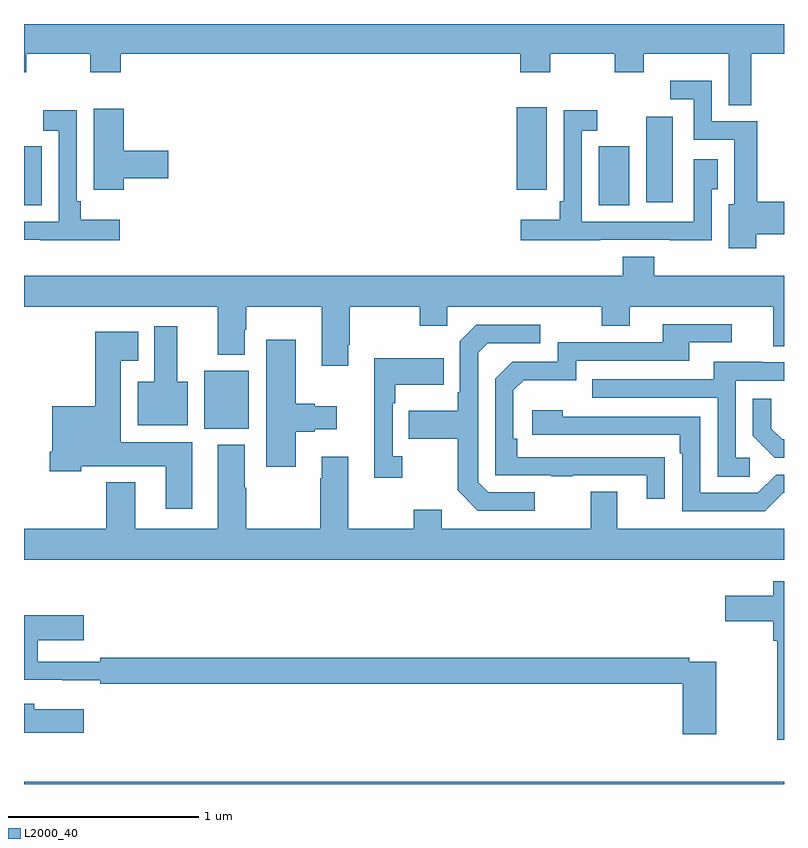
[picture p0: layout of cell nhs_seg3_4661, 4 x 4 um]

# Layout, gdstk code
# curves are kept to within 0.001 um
import gdstk
lib = gdstk.Library(unit=1e-6, precision=1e-09)
def R(c, l, rs):  # rectangles x0, y0, x1, y1
    for r in rs: c.add(gdstk.rectangle(r[:2], r[2:], *l))
def P(c, l, *ps):  # polygons
    for p in ps: c.add(gdstk.Polygon(p, *l))
L2000_40 = (2000, 40)

nhs_seg3_4661 = lib.new_cell('nhs_seg3_4661')
R(nhs_seg3_4661, L2000_40, [(361,702.4,365,702.412), (361.949,704.27,362.182,704.575), (361,705.445,361.093,705.756), (364.025,705.445,364.186,705.756), (364.274,705.462,364.414,705.913), (363.593,705.528,363.751,705.961)])
P(nhs_seg3_4661, L2000_40, [(364.828,706.244),(365,706.244),(365,706.4),(361,706.4),(361,706.145),(361.011,706.145),(361.011,706.244),(361.348,706.244),(361.348,706.145),(361.508,706.145),(361.508,706.244),(363.611,706.244),(363.611,706.145),(363.771,706.145),(363.771,706.244),(364.108,706.244),(364.108,706.145),(364.263,706.145),(364.263,706.244),(364.709,706.244),(364.709,705.973),(364.828,705.973)],
  [(364.853,705.293),(365,705.293),(365,705.464),(364.858,705.464),(364.858,705.888),(364.62,705.888),(364.62,706.102),(364.401,706.102),(364.401,706.005),(364.524,706.005),(364.524,705.792),(364.739,705.792),(364.739,705.451),(364.709,705.451),(364.709,705.219),(364.853,705.219)],
  [(361.526,705.587),(361.759,705.587),(361.759,705.734),(361.526,705.734),(361.526,705.955),(361.367,705.955),(361.367,705.528),(361.526,705.528)],
  [(364.033,705.264),(364.399,705.264),(364.399,705.263),(364.62,705.263),(364.62,705.529),(364.651,705.529),(364.651,705.688),(364.524,705.688),(364.524,705.36),(363.936,705.36),(363.936,705.837),(364.018,705.837),(364.018,705.946),(363.84,705.946),(363.84,705.466),(363.82,705.466),(363.82,705.37),(363.615,705.37),(363.615,705.263),(364.033,705.263)],
  [(361.504,705.37),(361.298,705.37),(361.298,705.466),(361.278,705.466),(361.278,705.946),(361.101,705.946),(361.101,705.837),(361.182,705.837),(361.182,705.36),(361,705.36),(361,705.264),(361.085,705.264),(361.085,705.263),(361.504,705.263)],
  [(362.707,704.713),(362.715,704.713),(362.715,704.912),(363.082,704.912),(363.082,704.813),(363.228,704.813),(363.228,704.912),(364.042,704.912),(364.042,704.813),(364.189,704.813),(364.189,704.912),(364.943,704.912),(364.943,704.704),(365,704.704),(365,705.076),(364.316,705.076),(364.316,705.175),(364.151,705.175),(364.151,705.076),(361,705.076),(361,704.912),(362.021,704.912),(362.021,704.66),(362.161,704.66),(362.161,704.792),(362.169,704.792),(362.169,704.912),(362.567,704.912),(362.567,704.601),(362.707,704.601)],
  [(364.373,704.12),(363.596,704.121),(363.596,704.218),(363.576,704.218),(363.576,704.472),(363.629,704.525),(363.906,704.525),(363.906,704.628),(364.501,704.628),(364.501,704.724),(364.726,704.724),(364.726,704.82),(364.361,704.82),(364.361,704.724),(363.81,704.724),(363.81,704.622),(363.57,704.622),(363.48,704.532),(363.48,704.025),(363.775,704.025),(363.775,704.02),(363.887,704.02),(363.887,704.025),(364.277,704.025),(364.277,703.902),(364.373,703.902)],
  [(363.688,703.935),(363.444,703.935),(363.39,703.989),(363.39,704.67),(363.441,704.721),(363.718,704.721),(363.718,704.817),(363.381,704.817),(363.294,704.73),(363.294,704.461),(363.282,704.461),(363.282,704.365),(363.025,704.365),(363.025,704.218),(363.282,704.218),(363.282,703.945),(363.387,703.839),(363.688,703.839)],
  [(361.861,704.518),(361.807,704.518),(361.807,704.809),(361.685,704.809),(361.685,704.518),(361.598,704.518),(361.598,704.288),(361.861,704.288)],
  [(361.885,704.2),(361.51,704.2),(361.51,704.627),(361.6,704.627),(361.6,704.779),(361.376,704.779),(361.376,704.389),(361.148,704.389),(361.148,704.149),(361.136,704.149),(361.136,704.045),(361.302,704.045),(361.302,704.072),(361.745,704.072),(361.745,703.848),(361.885,703.848)],
  [(362.431,704.255),(362.531,704.255),(362.531,704.267),(362.647,704.267),(362.647,704.389),(362.531,704.389),(362.531,704.402),(362.431,704.402),(362.431,704.737),(362.276,704.737),(362.276,704.07),(362.431,704.07)],
  [(362.992,704.126),(362.94,704.126),(362.94,704.405),(362.953,704.405),(362.953,704.501),(363.209,704.501),(363.209,704.641),(362.843,704.641),(362.843,704.013),(362.992,704.013)],
  [(364.819,704.118),(364.746,704.118),(364.746,704.523),(365,704.523),(365,704.619),(364.885,704.619),(364.885,704.623),(364.631,704.623),(364.631,704.529),(363.991,704.529),(363.991,704.433),(364.65,704.433),(364.65,704.017),(364.819,704.017)],
  [(365,704.214),(364.99,704.214),(364.933,704.271),(364.933,704.428),(364.836,704.428),(364.836,704.234),(364.952,704.118),(365,704.118)],
  [(364.995,703.932),(365,703.932),(365,704.028),(364.959,704.028),(364.863,703.932),(364.56,703.932),(364.56,704.334),(363.836,704.334),(363.836,704.368),(363.675,704.368),(363.675,704.238),(364.451,704.238),(364.451,704.141),(364.464,704.141),(364.464,703.836),(364.899,703.836)],
  [(365,703.744),(364.123,703.744),(364.123,703.939),(363.983,703.939),(363.983,703.744),(363.199,703.744),(363.199,703.843),(363.052,703.843),(363.052,703.744),(362.707,703.744),(362.707,704.122),(362.567,704.122),(362.567,704.009),(362.56,704.009),(362.56,703.744),(362.169,703.744),(362.169,703.959),(362.161,703.959),(362.161,704.185),(362.021,704.185),(362.021,703.744),(361.585,703.744),(361.585,703.987),(361.433,703.987),(361.433,703.744),(361,703.744),(361,703.58),(365,703.58)],
  [(365,703.468),(364.944,703.468),(364.944,703.39),(364.692,703.39),(364.692,703.256),(364.944,703.256),(364.944,703.154),(364.965,703.154),(364.965,702.633),(365,702.633)],
  [(364.644,703.044),(364.502,703.044),(364.502,703.064),(361.402,703.064),(361.402,703.044),(361.073,703.044),(361.073,703.157),(361.315,703.157),(361.315,703.287),(361,703.287),(361,702.948),(361.202,702.948),(361.202,702.947),(361.402,702.947),(361.402,702.928),(364.466,702.928),(364.466,702.663),(364.644,702.663)],
  [(361.315,702.793),(361.054,702.793),(361.054,702.822),(361,702.822),(361,702.671),(361.315,702.671)])

lib.write_gds('nhs_seg3_4661.gds')
